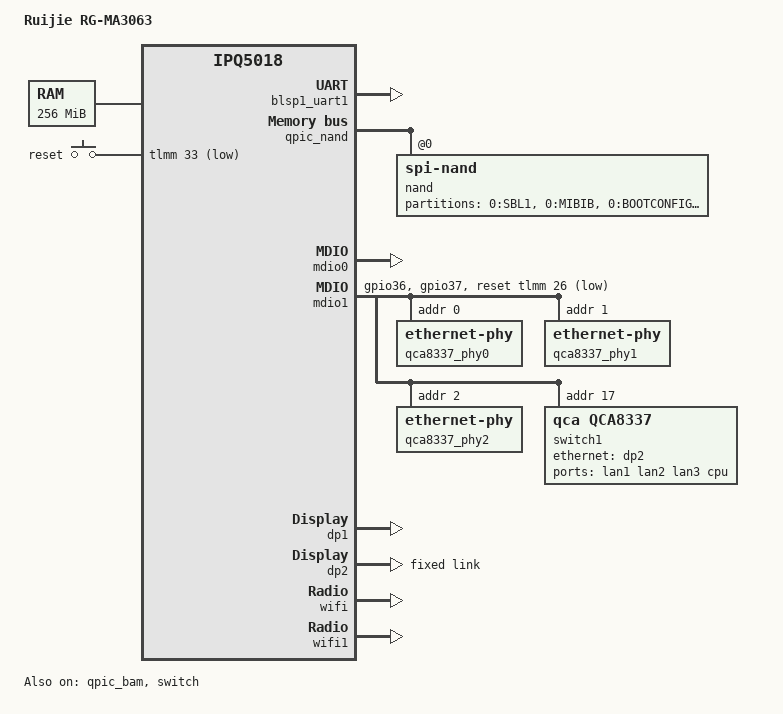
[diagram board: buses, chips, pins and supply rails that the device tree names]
// SPDX-License-Identifier: GPL-2.0-or-later OR MIT
/*
 * Device Tree Source for Ruijie RG-MA3063
 *
 * Ethernet topology verified by RAM boot: chassis LAN1 is the direct dp1 PHY;
 * chassis LAN2-LAN4 are QCA8337 switch ports 1-3 through dp2. GPIO26 is the
 * OEM-confirmed active-low switch reset.
 * LEDs are intentionally deferred until core platform validation.
 */

/dts-v1/;

#include "ipq5018.dtsi"
#include "ipq5018-ess.dtsi"
#include "ipq5018-qcn6122.dtsi"
#include <dt-bindings/gpio/gpio.h>
#include <dt-bindings/input/input.h>

/ {
	model = "Ruijie RG-MA3063";
	compatible = "ruijie,rg-ma3063", "qcom,ipq5018";

	aliases {
		serial0 = &blsp1_uart1;
	};

	chosen {
		stdout-path = "serial0:115200n8";
		bootargs-append = " ubi.mtd=rootfs ubi.block=0,3 root=/dev/ubiblock0_3 rootfstype=squashfs rootwait coherent_pool=2M";
	};

	memory@40000000 {
		device_type = "memory";
		reg = <0x0 0x40000000 0x0 0x10000000>;
	};

	keys {
		compatible = "gpio-keys";

		reset {
			label = "reset";
			linux,code = <KEY_RESTART>;
			gpios = <&tlmm 33 GPIO_ACTIVE_LOW>;
			debounce-interval = <60>;
		};
	};
};

&sleep_clk {
	clock-frequency = <32000>;
};

&xo_board_clk {
	clock-mult = <1>;
	clock-div = <4>;
};

&blsp1_uart1 {
	status = "okay";
};

&qpic_bam {
	status = "okay";
};

&qpic_nand {
	status = "okay";

	nand@0 {
		compatible = "spi-nand";
		reg = <0>;
		nand-ecc-engine = <&qpic_nand>;
		nand-ecc-strength = <4>;
		nand-ecc-step-size = <512>;
		nand-bus-width = <8>;

		partitions {
			compatible = "fixed-partitions";
			#address-cells = <1>;
			#size-cells = <1>;

			partition@0 { label = "0:SBL1"; reg = <0x0 0x80000>; read-only; };
			partition@80000 { label = "0:MIBIB"; reg = <0x80000 0x80000>; read-only; };
			partition@100000 { label = "0:BOOTCONFIG"; reg = <0x100000 0x40000>; read-only; };
			partition@140000 { label = "0:BOOTCONFIG1"; reg = <0x140000 0x40000>; read-only; };
			partition@180000 { label = "0:QSEE"; reg = <0x180000 0x100000>; read-only; };
			partition@280000 { label = "0:QSEE_1"; reg = <0x280000 0x100000>; read-only; };
			partition@380000 { label = "0:DEVCFG"; reg = <0x380000 0x40000>; read-only; };
			partition@3c0000 { label = "0:DEVCFG_1"; reg = <0x3c0000 0x40000>; read-only; };
			partition@400000 { label = "0:CDT"; reg = <0x400000 0x40000>; read-only; };
			partition@440000 { label = "0:CDT_1"; reg = <0x440000 0x40000>; read-only; };
			partition@480000 { label = "0:APPSBLENV"; reg = <0x480000 0x80000>; };
			partition@500000 { label = "0:APPSBL"; reg = <0x500000 0x140000>; read-only; };
			partition@640000 { label = "0:APPSBL_1"; reg = <0x640000 0x140000>; read-only; };

			partition@780000 {
				label = "0:ART";
				reg = <0x780000 0x100000>;
				read-only;

				nvmem-layout {
					compatible = "fixed-layout";
					#address-cells = <1>;
					#size-cells = <1>;

					macaddr_art_eth: macaddr@0 { reg = <0x0 0x6>; };
					macaddr_art_2g: macaddr@6 { reg = <0x6 0x6>; };
					caldata_2g: caldata@1000 { reg = <0x1000 0x20000>; };
					caldata_5g: caldata@26800 { reg = <0x26800 0x20000>; };
				};
			};

			partition@880000 { label = "0:TRAINING"; reg = <0x880000 0x80000>; read-only; };
			partition@900000 { label = "rootfs"; reg = <0x900000 0x3200000>; };
			partition@3b00000 { label = "rootfs_1"; reg = <0x3b00000 0x3200000>; };
			partition@6d00000 { label = "ttyMTD"; reg = <0x6d00000 0x120000>; };
			partition@6e20000 { label = "productinfo"; reg = <0x6e20000 0x80000>; read-only; };
			partition@6ea0000 { label = "data"; reg = <0x6ea0000 0x1040000>; };
		};
	};
};

&mdio0 {
	status = "okay";
};

&mdio1 {
	status = "okay";
	pinctrl-0 = <&mdio1_pins>;
	pinctrl-names = "default";
	reset-gpios = <&tlmm 26 GPIO_ACTIVE_LOW>;

	qca8337_phy0: ethernet-phy@0 { reg = <0>; };
	qca8337_phy1: ethernet-phy@1 { reg = <1>; };
	qca8337_phy2: ethernet-phy@2 { reg = <2>; };

	switch1: ethernet-switch@17 {
		compatible = "qca,qca8337";
		reg = <17>;
		#address-cells = <1>;
		#size-cells = <0>;

		ports {
			#address-cells = <1>;
			#size-cells = <0>;

			port@1 { reg = <1>; label = "lan1"; phy-handle = <&qca8337_phy0>; };
			port@2 { reg = <2>; label = "lan2"; phy-handle = <&qca8337_phy1>; };
			port@3 { reg = <3>; label = "lan3"; phy-handle = <&qca8337_phy2>; };
			port@6 {
				reg = <6>;
				label = "cpu";
				phy-mode = "sgmii";
				ethernet = <&dp2>;
				qca,sgmii-enable-pll;

				fixed-link {
					speed = <1000>;
					full-duplex;
				};
			};
		};
	};
};

&tlmm {
	mdio1_pins: mdio-state {
		mdc-pins {
			pins = "gpio36";
			function = "mdc";
			drive-strength = <8>;
			bias-pull-up;
		};

		mdio-pins {
			pins = "gpio37";
			function = "mdio";
			drive-strength = <8>;
			bias-pull-up;
		};
	};

};

&switch {
	status = "okay";
	switch_mac_mode = <MAC_MODE_SGMII_CHANNEL0>;

	qcom,port_phyinfo {
		port@0 { port_id = <1>; mdiobus = <&mdio0>; phy_address = <7>; };
		port@1 { port_id = <2>; forced-speed = <1000>; forced-duplex = <1>; };
	};
};

&dp1 {
	status = "okay";
	nvmem-cells = <&macaddr_art_eth>;
	nvmem-cell-names = "mac-address";
};

&dp2 {
	status = "okay";
	nvmem-cells = <&macaddr_art_eth>;
	nvmem-cell-names = "mac-address";
	mac-address-increment = <1>;

	fixed-link {
		speed = <1000>;
		full-duplex;
	};
};

&q6v5_wcss {
	/* Verified from the OEM config@mp03.5-c1 device tree. */
	boot-args = <0x2 4 2 18 0 0>;
};

&wifi {
	status = "okay";
	qcom,rproc = <&q6_wcss_pd1>;
	qcom,ath11k-calibration-variant = "Ruijie-RG-MA3063";
	qcom,ath11k-fw-memory-mode = <1>;
	qcom,bdf-addr = <0x4c400000>;
	nvmem-cells = <&macaddr_art_2g>, <&caldata_2g>;
	nvmem-cell-names = "mac-address", "calibration";
};

&wifi1 {
	status = "okay";
	qcom,rproc = <&q6_wcss_pd2>;
	qcom,userpd-subsys-name = "q6v5_wcss_userpd2";
	qcom,ath11k-calibration-variant = "Ruijie-RG-MA3063";
	qcom,ath11k-fw-memory-mode = <1>;
	qcom,bdf-addr = <0x4d100000>;
	qcom,m3-dump-addr = <0x4df00000>;
	nvmem-cells = <&macaddr_art_eth>, <&caldata_5g>;
	nvmem-cell-names = "mac-address", "calibration";
	mac-address-increment = <2>;
};
